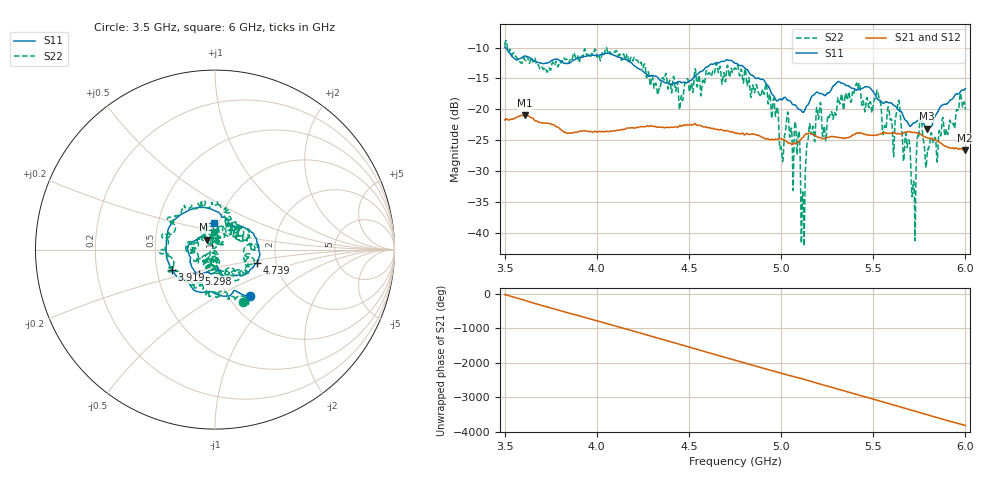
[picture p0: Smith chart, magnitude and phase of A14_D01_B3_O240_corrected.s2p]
! Created with skrf 1.9.0 (http://scikit-rf.org).
# Hz S RI R 50.0
!freq ReS11 ImS11 ReS21 ImS21 ReS12 ImS12 ReS22 ImS22
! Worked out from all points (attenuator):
!   1601 points, 3.5 GHz to 6 GHz, reference 50 ohm
!   highest |S21| = -20.93 dB at 3.611 GHz (marker M1); lowest = -26.6 dB at 5.998 GHz (marker M2)
!   lowest |S11| = -23.1 dB at 5.791 GHz (marker M3), VSWR 1.15, Z = 45.6 + j5.1 ohm
!   |S11| at or under -10 dB: 3.504 GHz to end of sweep
!   |S22| runs from -42.1 to -8.9 dB; largest |S21 - S12| = 0.0013
!   S11 on the Smith chart (normalised r, x): 3.5 GHz: 1.25, -0.72; 3.919 GHz: 0.60, -0.15; 4.739 GHz: 1.58, -0.24; 5.298 GHz: 0.81, -0.22; 6 GHz: 0.95, +0.28
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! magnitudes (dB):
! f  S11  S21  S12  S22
! 3.5 GHz  -9.9  -21.7  -21.7  -9.6
! 3.611 GHz  -11.4  -20.9  -21.0  -12.0
! 3.917 GHz  -11.6  -23.5  -23.5  -11.2
! 3.919 GHz  -11.5  -23.5  -23.5  -11.4
! 4.334 GHz  -15.0  -22.9  -22.8  -17.3
! 4.739 GHz  -12.3  -23.6  -23.7  -14.0
! 4.75 GHz  -12.5  -23.8  -23.8  -13.3
! 4.928 GHz  -16.1  -24.7  -24.7  -18.8
! 5.003 GHz  -18.4  -24.8  -24.8  -27.0
! 5.086 GHz  -19.7  -25.5  -25.4  -27.3
! 5.117 GHz  -20.4  -24.5  -24.5  -33.3
! 5.145 GHz  -19.3  -23.9  -23.9  -24.9
! 5.167 GHz  -17.9  -24.0  -24.0  -23.8
! 5.298 GHz  -15.8  -24.4  -24.4  -20.9
! 5.416 GHz  -16.9  -23.8  -23.9  -16.6
! 5.584 GHz  -18.9  -23.8  -23.9  -19.7
! 5.641 GHz  -20.2  -24.0  -23.9  -18.8
! 5.719 GHz  -22.2  -23.7  -23.7  -31.6
! 5.752 GHz  -21.9  -23.9  -23.9  -22.2
! 5.791 GHz  -23.1  -24.6  -24.5  -27.9
! 5.998 GHz  -16.7  -26.6  -26.5  -19.6
! 6 GHz  -16.6  -26.6  -26.5  -20.0
